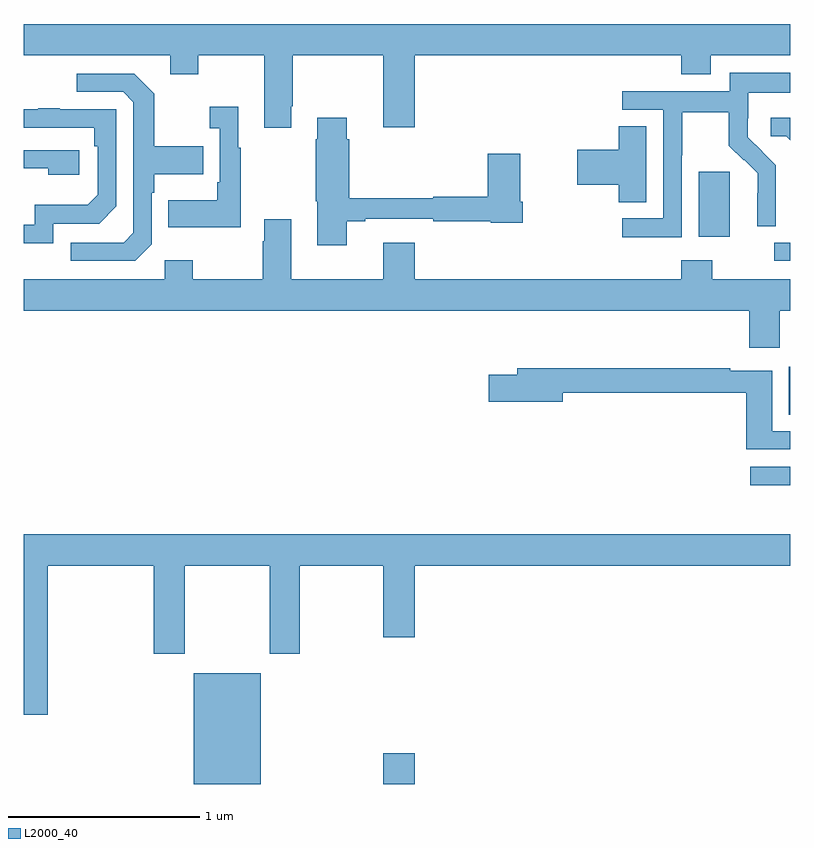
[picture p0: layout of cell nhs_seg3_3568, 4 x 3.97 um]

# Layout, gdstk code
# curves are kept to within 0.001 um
import gdstk
lib = gdstk.Library(unit=1e-6, precision=1e-09)
def R(c, l, rs):  # rectangles x0, y0, x1, y1
    for r in rs: c.add(gdstk.rectangle(r[:2], r[2:], *l))
def P(c, l, *ps):  # polygons
    for p in ps: c.add(gdstk.Polygon(p, *l))
L2000_40 = (2000, 40)

nhs_seg3_3568 = lib.new_cell('nhs_seg3_3568')
R(nhs_seg3_3568, L2000_40, [(295.886,742.4,296.236,742.978), (296.876,742.4,297.04,742.561), (298.791,743.961,299,744.057), (298.994,744.328,299,744.578), (298.917,745.131,299,745.227), (298.523,745.257,298.684,745.597)])
P(nhs_seg3_3568, L2000_40, [(296.395,745.939),(296.403,745.939),(296.403,746.204),(296.876,746.204),(296.876,745.83),(297.04,745.83),(297.04,746.204),(298.433,746.204),(298.433,746.105),(298.585,746.105),(298.585,746.204),(299,746.204),(299,746.368),(295,746.368),(295,746.204),(295.763,746.204),(295.763,746.105),(295.911,746.105),(295.911,746.204),(296.255,746.204),(296.255,745.827),(296.395,745.827)],
  [(298.434,745.684),(298.437,745.684),(298.437,745.908),(298.681,745.908),(298.681,745.733),(298.758,745.656),(298.761,745.659),(298.832,745.589),(298.832,745.484),(298.829,745.484),(298.829,745.312),(298.926,745.312),(298.926,745.63),(298.78,745.778),(298.78,745.875),(298.782,745.875),(298.782,746.009),(299,746.009),(299,746.113),(298.686,746.113),(298.686,746.016),(298.125,746.016),(298.125,745.92),(298.338,745.92),(298.338,745.353),(298.125,745.353),(298.125,745.255),(298.434,745.255)],
  [(295.668,745.218),(295.668,745.487),(295.681,745.487),(295.681,745.583),(295.937,745.583),(295.937,745.731),(295.681,745.731),(295.681,746.003),(295.575,746.109),(295.275,746.109),(295.275,746.013),(295.518,746.013),(295.572,745.959),(295.572,745.278),(295.521,745.227),(295.245,745.227),(295.245,745.131),(295.581,745.131)],
  [(296.131,745.723),(296.119,745.723),(296.119,745.936),(295.971,745.936),(295.971,745.823),(296.022,745.823),(296.022,745.543),(296.01,745.543),(296.01,745.447),(295.753,745.447),(295.753,745.307),(296.131,745.307)],
  [(295.152,745.326),(295.392,745.326),(295.482,745.416),(295.482,745.923),(295.187,745.923),(295.187,745.928),(295.075,745.928),(295.075,745.923),(295,745.923),(295,745.827),(295.366,745.827),(295.366,745.73),(295.386,745.73),(295.386,745.476),(295.333,745.423),(295.056,745.423),(295.056,745.32),(295,745.32),(295,745.224),(295.152,745.224)],
  [(296.686,745.338),(296.782,745.338),(296.782,745.35),(297.136,745.35),(297.136,745.338),(297.438,745.338),(297.438,745.33),(297.605,745.33),(297.605,745.441),(297.592,745.441),(297.592,745.69),(297.422,745.69),(297.422,745.466),(297.138,745.466),(297.138,745.459),(296.699,745.459),(296.699,745.766),(296.686,745.766),(296.686,745.879),(296.531,745.879),(296.531,745.766),(296.524,745.766),(296.524,745.443),(296.531,745.443),(296.531,745.212),(296.686,745.212)],
  [(299,745.879),(298.899,745.879),(298.899,745.782),(298.98,745.782),(299,745.762)],
  [(298.249,745.835),(298.106,745.835),(298.106,745.712),(297.888,745.712),(297.888,745.529),(298.106,745.529),(298.106,745.438),(298.249,745.438)],
  [(295.288,745.71),(295,745.71),(295,745.614),(295.127,745.614),(295.127,745.58),(295.288,745.58)],
  [(298.947,744.872),(299,744.872),(299,745.036),(298.593,745.036),(298.593,745.135),(298.433,745.135),(298.433,745.036),(297.04,745.036),(297.04,745.225),(296.876,745.225),(296.876,745.036),(296.395,745.036),(296.395,745.348),(296.255,745.348),(296.255,745.235),(296.248,745.235),(296.248,745.036),(295.881,745.036),(295.881,745.135),(295.734,745.135),(295.734,745.036),(295,745.036),(295,744.872),(298.787,744.872),(298.787,744.678),(298.947,744.678)],
  [(299,744.243),(298.906,744.243),(298.906,744.558),(298.688,744.558),(298.688,744.571),(297.575,744.571),(297.575,744.537),(297.426,744.537),(297.426,744.395),(297.814,744.395),(297.814,744.442),(298.772,744.442),(298.772,744.147),(299,744.147)],
  [(295.124,743.54),(295.679,743.54),(295.679,743.079),(295.839,743.079),(295.839,743.54),(296.284,743.54),(296.284,743.079),(296.439,743.079),(296.439,743.54),(296.876,743.54),(296.876,743.166),(297.04,743.166),(297.04,743.54),(299,743.54),(299,743.704),(295,743.704),(295,742.761),(295.124,742.761)])

lib.write_gds('nhs_seg3_3568.gds')
